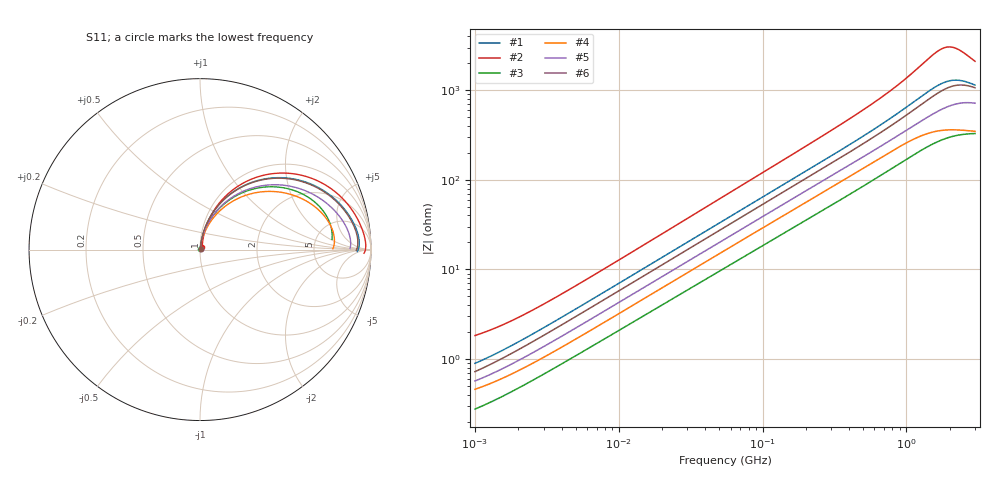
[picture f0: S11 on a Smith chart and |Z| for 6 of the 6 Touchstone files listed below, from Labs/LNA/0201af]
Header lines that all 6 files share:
# MHz  S  MA  R  50
!Freq  MagS11  AngS11  MagS21  AngS21  MagS12  AngS12  MagS22  AngS22
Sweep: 1 MHz to 3 GHz
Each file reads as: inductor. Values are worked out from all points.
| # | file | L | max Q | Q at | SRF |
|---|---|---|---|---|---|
| 1 | 0201AF-141.s2p | 115 nH | 9.99 | 20.8 MHz | 2.584 GHz |
| 2 | 0201AF-171.s2p | 204 nH | 10.6 | 31.59 MHz | 2.137 GHz |
| 3 | 0201AF-330.s2p | 34.9 nH | 9.69 | 21.86 MHz | - |
| 4 | 0201AF-510.s2p | 51.8 nH | 6.62 | 18.83 MHz | - |
| 5 | 0201AF-680.s2p | 70 nH | 8.05 | 18.83 MHz | - |
| 6 | 0201AF-910.s2p | 95.2 nH | 10.5 | 20.39 MHz | 2.845 GHz |
